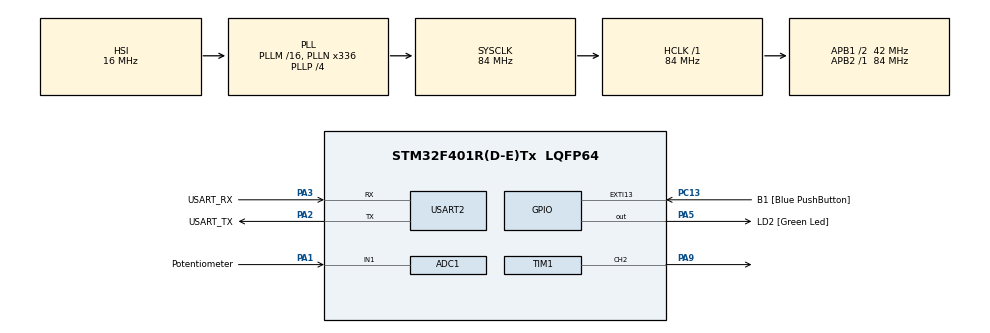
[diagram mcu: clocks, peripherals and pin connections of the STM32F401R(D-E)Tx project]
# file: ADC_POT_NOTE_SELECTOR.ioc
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ADC1.Channel-0\#ChannelRegularConversion=ADC_CHANNEL_1
ADC1.ExternalTrigConv=ADC_EXTERNALTRIGCONV_T2_TRGO
ADC1.NbrOfConversionFlag=1
ADC1.Rank-0\#ChannelRegularConversion=1
ADC1.SamplingTime-0\#ChannelRegularConversion=ADC_SAMPLETIME_480CYCLES
ADC1.master=1
Dma.Request0=USART2_TX
Dma.USART2_TX.0.Direction=DMA_MEMORY_TO_PERIPH
Dma.USART2_TX.0.FIFOMode=DMA_FIFOMODE_DISABLE
Dma.USART2_TX.0.Instance=DMA1_Stream6
Dma.USART2_TX.0.MemDataAlignment=DMA_MDATAALIGN_BYTE
Dma.USART2_TX.0.MemInc=DMA_MINC_ENABLE
Dma.USART2_TX.0.Mode=DMA_NORMAL
Dma.USART2_TX.0.PeriphDataAlignment=DMA_PDATAALIGN_BYTE
Dma.USART2_TX.0.PeriphInc=DMA_PINC_DISABLE
Dma.USART2_TX.0.Priority=DMA_PRIORITY_HIGH
Mcu.Family=STM32F4
Mcu.Name=STM32F401R(D-E)Tx
Mcu.Package=LQFP64
NVIC.ADC_IRQn=true\:0\:0\:false\:false\:true\:true\:true\:true
NVIC.DMA1_Stream6_IRQn=true\:0\:0\:false\:false\:true\:false\:true\:true
NVIC.PriorityGroup=NVIC_PRIORITYGROUP_4
NVIC.USART2_IRQn=true\:0\:0\:false\:false\:true\:true\:true\:true
PA1.GPIO_Label=Potentiometer
PA1.Signal=ADCx_IN1
PA13.GPIO_Label=TMS
PA13.Mode=Trace_Asynchronous_SW
PA13.Signal=SYS_JTMS-SWDIO
PA14.GPIO_Label=TCK
PA14.Mode=Trace_Asynchronous_SW
PA14.Signal=SYS_JTCK-SWCLK
PA2.GPIO_Label=USART_TX
PA2.GPIO_Mode=GPIO_MODE_AF_PP
PA2.GPIO_PuPd=GPIO_NOPULL
PA2.GPIO_Speed=GPIO_SPEED_FREQ_LOW
PA2.Mode=Asynchronous
PA2.Signal=USART2_TX
PA3.GPIO_Label=USART_RX
PA3.GPIO_Mode=GPIO_MODE_AF_PP
PA3.GPIO_PuPd=GPIO_NOPULL
PA3.GPIO_Speed=GPIO_SPEED_FREQ_LOW
PA3.Mode=Asynchronous
PA3.Signal=USART2_RX
PA5.GPIO_Label=LD2 [Green Led]
PA5.GPIO_Mode=GPIO_MODE_OUTPUT_PP
PA5.GPIO_PuPd=GPIO_NOPULL
PA5.GPIO_Speed=GPIO_SPEED_FREQ_LOW
PA5.Signal=GPIO_Output
PA9.Signal=S_TIM1_CH2
PB3.GPIO_Label=SWO
PB3.Mode=Trace_Asynchronous_SW
PB3.Signal=SYS_JTDO-SWO
PC13-ANTI_TAMP.GPIO_Label=B1 [Blue PushButton]
PC13-ANTI_TAMP.GPIO_ModeDefaultEXTI=GPIO_MODE_IT_FALLING
PC13-ANTI_TAMP.GPIO_PuPd=GPIO_NOPULL
PC13-ANTI_TAMP.Signal=GPXTI13
PC14-OSC32_IN.Mode=LSE-External-Oscillator
PC14-OSC32_IN.Signal=RCC_OSC32_IN
PC15-OSC32_OUT.Mode=LSE-External-Oscillator
PC15-OSC32_OUT.Signal=RCC_OSC32_OUT
PH0\ -\ OSC_IN.Mode=HSE-External-Clock-Source
PH0\ -\ OSC_IN.Signal=RCC_OSC_IN
PH1\ -\ OSC_OUT.Mode=HSE-External-Clock-Source
PH1\ -\ OSC_OUT.Signal=RCC_OSC_OUT
ProjectManager.HeapSize=0x200
ProjectManager.StackSize=0x400
ProjectManager.TargetToolchain=STM32CubeIDE
RCC.48MHZClocksFreq_Value=48000000
RCC.AHBFreq_Value=84000000
RCC.APB1CLKDivider=RCC_HCLK_DIV2
RCC.APB1Freq_Value=42000000
RCC.APB1TimFreq_Value=84000000
RCC.APB2Freq_Value=84000000
RCC.APB2TimFreq_Value=84000000
RCC.CortexFreq_Value=84000000
RCC.HCLKFreq_Value=84000000
RCC.HSE_VALUE=8000000
RCC.HSI_VALUE=16000000
RCC.PLLN=336
RCC.PLLP=RCC_PLLP_DIV4
RCC.PLLQ=7
RCC.SYSCLKFreq_VALUE=84000000
RCC.SYSCLKSource=RCC_SYSCLKSOURCE_PLLCLK
RCC.VCOOutputFreq_Value=336000000
SH.ADCx_IN1.0=ADC1_IN1,IN1
SH.S_TIM1_CH2.0=TIM1_CH2,PWM Generation2 CH2
TIM1.Channel-PWM\ Generation2\ CH2=TIM_CHANNEL_2
TIM1.Period=1909
TIM1.Prescaler=99
TIM1.Pulse-PWM\ Generation2\ CH2=954
TIM2.Period=839
TIM2.Prescaler=99
TIM2.TIM_MasterOutputTrigger=TIM_TRGO_UPDATE
USART2.VirtualMode=VM_ASYNC
VP_TIM2_VS_ClockSourceINT.Mode=Internal
board=NUCLEO-F401RE

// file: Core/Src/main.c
/* USER CODE BEGIN Header */
/**
  ******************************************************************************
  * @file           : main.c
  * @brief          : Main program body
  ******************************************************************************
  * @attention
  *
  * Copyright (c) 2026 STMicroelectronics.
  * All rights reserved.
  *
  * This software is licensed under terms that can be found in the LICENSE file
  * in the root directory of this software component.
  * If no LICENSE file comes with this software, it is provided AS-IS.
  *
  ******************************************************************************
  */
/* USER CODE END Header */
#include "main.h"

/* USER CODE BEGIN Includes */
#include "stdio.h"
#include "string.h"

/* USER CODE END Includes */

/* USER CODE BEGIN PTD */
// Definiamo una struttura "Note"
typedef struct {
    int Period;
    int Duration;
} Note;
/* USER CODE END PTD */

/* USER CODE BEGIN PD */
#define PeriodDO5 1605   // C5 = 523.25 Hz
#define PeriodRE5 1430   // D5 = 587.33 Hz
#define PeriodMI5 1274   // E5 = 659.25 Hz
#define PeriodFA4 2405   // F4 = 349.23 Hz
#define PeriodLA4 1909   // A4 = 440.00 Hz
#define PeriodSI4 1701   // B4 = 493.88 Hz

#define SONG_LENGTH 16
/* USER CODE END PD */

ADC_HandleTypeDef hadc1;

TIM_HandleTypeDef htim1;
TIM_HandleTypeDef htim2;

UART_HandleTypeDef huart2;
DMA_HandleTypeDef hdma_usart2_tx;

/* USER CODE BEGIN PV */
uint32_t adc_value=0;
float voltage=0.0;
float old_voltage=0.0;
uint8_t tx_buf[32];
int len;

Note Swan_Lake[] = {
		{PeriodMI5, 4},
		{PeriodLA4, 1},
		{PeriodSI4, 1},
		{PeriodDO5, 1},
		{PeriodRE5, 1},
		{PeriodMI5, 3},
		{PeriodDO5, 1},
		{PeriodMI5, 3},
		{PeriodDO5, 1},
		{PeriodMI5, 3},
		{PeriodLA4, 1},
		{PeriodDO5, 1},
		{PeriodLA4, 1},
		{PeriodFA4, 1},
		{PeriodDO5, 1},
		{PeriodLA4, 4}
};

volatile uint8_t i=0;
volatile uint8_t note_changed=0;

float interval_amplitude=(float)(3.3f/SONG_LENGTH); // 0.206 ampiezza intervalli

float intervals[SONG_LENGTH+1];

/* USER CODE END PV */

void SystemClock_Config(void);
static void MX_GPIO_Init(void);
static void MX_DMA_Init(void);
static void MX_USART2_UART_Init(void);
static void MX_ADC1_Init(void);
static void MX_TIM2_Init(void);
static void MX_TIM1_Init(void);

/* USER CODE BEGIN 0 */
void HAL_ADC_ConvCpltCallback(ADC_HandleTypeDef *hadc)
{
    // Il Trigger (Timer 2 a 1Hz) avvia la conversione ogni secondo
	// Quando arriva l'EoC aggiorniamo il valore
	adc_value = HAL_ADC_GetValue(hadc);
	voltage = ((float)adc_value * 3.3f) / 4095.0f;

	if((voltage-old_voltage>0.2f)||(old_voltage-voltage)>0.2f){
		note_changed=1;
	}

	// E lo inviamo
	//len = sprintf((char*)tx_buf, "Potentiometer: %.2f V\r\n", voltage);
	//HAL_UART_Transmit_DMA(&huart2, tx_buf, len);

}

void play_note(uint32_t Period, uint32_t Duration){

	// Aggiorna il Periodo (frequenza) nel registro del Timer
    // L'unica variabile da ri-inizializzare è quella di base (più veloce di HAL_TIM_Base_Init)
    // Usiamo una macro veloce che accede direttamente al registro
    __HAL_TIM_SET_AUTORELOAD(&htim1, Period - 1);

    // Aggiorna il Pulse (Duty Cycle)
    __HAL_TIM_SET_COMPARE(&htim1, TIM_CHANNEL_2, Period / 2);

    // Fai suonare nota
	HAL_TIM_PWM_Start(&htim1, TIM_CHANNEL_2);
}

/* USER CODE END 0 */

int main(void)
{

  /* MCU Configuration--------------------------------------------------------*/

  /* Reset of all peripherals, Initializes the Flash interface and the Systick. */
  HAL_Init();

  /* Configure the system clock */
  SystemClock_Config();

  /* Initialize all configured peripherals */
  MX_GPIO_Init();
  MX_DMA_Init();
  MX_USART2_UART_Init();
  MX_ADC1_Init();
  MX_TIM2_Init();
  MX_TIM1_Init();
  /* USER CODE BEGIN 2 */
  HAL_TIM_Base_Start(&htim2); // Ci serve il Trigger, non una Interrupt
  HAL_ADC_Start_IT(&hadc1);

  for(int j=0; j<SONG_LENGTH+1; j++){
	  intervals[j]=(float)(j*interval_amplitude); // 3.3/16 = 0.206 ampiezza intervalli
  }

  play_note(Swan_Lake[i].Period, Swan_Lake[i].Duration);

  /* USER CODE END 2 */

  /* Infinite loop */
  while (1)
  {

    /* USER CODE BEGIN 3 */
	  if(note_changed){
		  note_changed=0;
		  for(int j=1; j<=SONG_LENGTH+1; j++){
			  if(voltage>=intervals[j-1]){
				  i=j-1;
			  }
		  }

		  play_note(Swan_Lake[i].Period, Swan_Lake[i].Duration);
	  }
  }
  /* USER CODE END 3 */
}

void SystemClock_Config(void)
{
  RCC_OscInitTypeDef RCC_OscInitStruct = {0};
  RCC_ClkInitTypeDef RCC_ClkInitStruct = {0};

  /** Configure the main internal regulator output voltage
  */
  __HAL_RCC_PWR_CLK_ENABLE();
  __HAL_PWR_VOLTAGESCALING_CONFIG(PWR_REGULATOR_VOLTAGE_SCALE2);

  /** Initializes the RCC Oscillators according to the specified parameters
  * in the RCC_OscInitTypeDef structure.
  */
  RCC_OscInitStruct.OscillatorType = RCC_OSCILLATORTYPE_HSI;
  RCC_OscInitStruct.HSIState = RCC_HSI_ON;
  RCC_OscInitStruct.HSICalibrationValue = RCC_HSICALIBRATION_DEFAULT;
  RCC_OscInitStruct.PLL.PLLState = RCC_PLL_ON;
  RCC_OscInitStruct.PLL.PLLSource = RCC_PLLSOURCE_HSI;
  RCC_OscInitStruct.PLL.PLLM = 16;
  RCC_OscInitStruct.PLL.PLLN = 336;
  RCC_OscInitStruct.PLL.PLLP = RCC_PLLP_DIV4;
  RCC_OscInitStruct.PLL.PLLQ = 7;
  if (HAL_RCC_OscConfig(&RCC_OscInitStruct) != HAL_OK)
  {
    Error_Handler();
  }

  /** Initializes the CPU, AHB and APB buses clocks
  */
  RCC_ClkInitStruct.ClockType = RCC_CLOCKTYPE_HCLK|RCC_CLOCKTYPE_SYSCLK
                              |RCC_CLOCKTYPE_PCLK1|RCC_CLOCKTYPE_PCLK2;
  RCC_ClkInitStruct.SYSCLKSource = RCC_SYSCLKSOURCE_PLLCLK;
  RCC_ClkInitStruct.AHBCLKDivider = RCC_SYSCLK_DIV1;
  RCC_ClkInitStruct.APB1CLKDivider = RCC_HCLK_DIV2;
  RCC_ClkInitStruct.APB2CLKDivider = RCC_HCLK_DIV1;

  if (HAL_RCC_ClockConfig(&RCC_ClkInitStruct, FLASH_LATENCY_2) != HAL_OK)
  {
    Error_Handler();
  }
}

static void MX_ADC1_Init(void)
{

  ADC_ChannelConfTypeDef sConfig = {0};

  /** Configure the global features of the ADC (Clock, Resolution, Data Alignment and number of conversion)
  */
  hadc1.Instance = ADC1;
  hadc1.Init.ClockPrescaler = ADC_CLOCK_SYNC_PCLK_DIV4;
  hadc1.Init.Resolution = ADC_RESOLUTION_12B;
  hadc1.Init.ScanConvMode = DISABLE;
  hadc1.Init.ContinuousConvMode = DISABLE;
  hadc1.Init.DiscontinuousConvMode = DISABLE;
  hadc1.Init.ExternalTrigConvEdge = ADC_EXTERNALTRIGCONVEDGE_RISING;
  hadc1.Init.ExternalTrigConv = ADC_EXTERNALTRIGCONV_T2_TRGO;
  hadc1.Init.DataAlign = ADC_DATAALIGN_RIGHT;
  hadc1.Init.NbrOfConversion = 1;
  hadc1.Init.DMAContinuousRequests = DISABLE;
  hadc1.Init.EOCSelection = ADC_EOC_SINGLE_CONV;
  if (HAL_ADC_Init(&hadc1) != HAL_OK)
  {
    Error_Handler();
  }

  /** Configure for the selected ADC regular channel its corresponding rank in the sequencer and its sample time.
  */
  sConfig.Channel = ADC_CHANNEL_1;
  sConfig.Rank = 1;
  sConfig.SamplingTime = ADC_SAMPLETIME_480CYCLES;
  if (HAL_ADC_ConfigChannel(&hadc1, &sConfig) != HAL_OK)
  {
    Error_Handler();
  }

}

static void MX_TIM1_Init(void)
{

  TIM_MasterConfigTypeDef sMasterConfig = {0};
  TIM_OC_InitTypeDef sConfigOC = {0};
  TIM_BreakDeadTimeConfigTypeDef sBreakDeadTimeConfig = {0};

  htim1.Instance = TIM1;
  htim1.Init.Prescaler = 99;
  htim1.Init.CounterMode = TIM_COUNTERMODE_UP;
  htim1.Init.Period = 1909;
  htim1.Init.ClockDivision = TIM_CLOCKDIVISION_DIV1;
  htim1.Init.RepetitionCounter = 0;
  htim1.Init.AutoReloadPreload = TIM_AUTORELOAD_PRELOAD_DISABLE;
  if (HAL_TIM_PWM_Init(&htim1) != HAL_OK)
  {
    Error_Handler();
  }
  sMasterConfig.MasterOutputTrigger = TIM_TRGO_RESET;
  sMasterConfig.MasterSlaveMode = TIM_MASTERSLAVEMODE_DISABLE;
  if (HAL_TIMEx_MasterConfigSynchronization(&htim1, &sMasterConfig) != HAL_OK)
  {
    Error_Handler();
  }
  sConfigOC.OCMode = TIM_OCMODE_PWM1;
  sConfigOC.Pulse = 954;
  sConfigOC.OCPolarity = TIM_OCPOLARITY_HIGH;
  sConfigOC.OCNPolarity = TIM_OCNPOLARITY_HIGH;
  sConfigOC.OCFastMode = TIM_OCFAST_DISABLE;
  sConfigOC.OCIdleState = TIM_OCIDLESTATE_RESET;
  sConfigOC.OCNIdleState = TIM_OCNIDLESTATE_RESET;
  if (HAL_TIM_PWM_ConfigChannel(&htim1, &sConfigOC, TIM_CHANNEL_2) != HAL_OK)
  {
    Error_Handler();
  }
  sBreakDeadTimeConfig.OffStateRunMode = TIM_OSSR_DISABLE;
  sBreakDeadTimeConfig.OffStateIDLEMode = TIM_OSSI_DISABLE;
  sBreakDeadTimeConfig.LockLevel = TIM_LOCKLEVEL_OFF;
  sBreakDeadTimeConfig.DeadTime = 0;
  sBreakDeadTimeConfig.BreakState = TIM_BREAK_DISABLE;
  sBreakDeadTimeConfig.BreakPolarity = TIM_BREAKPOLARITY_HIGH;
  sBreakDeadTimeConfig.AutomaticOutput = TIM_AUTOMATICOUTPUT_DISABLE;
  if (HAL_TIMEx_ConfigBreakDeadTime(&htim1, &sBreakDeadTimeConfig) != HAL_OK)
  {
    Error_Handler();
  }
  HAL_TIM_MspPostInit(&htim1);

}

static void MX_TIM2_Init(void)
{

  TIM_ClockConfigTypeDef sClockSourceConfig = {0};
  TIM_MasterConfigTypeDef sMasterConfig = {0};

  htim2.Instance = TIM2;
  htim2.Init.Prescaler = 99;
  htim2.Init.CounterMode = TIM_COUNTERMODE_UP;
  htim2.Init.Period = 839;
  htim2.Init.ClockDivision = TIM_CLOCKDIVISION_DIV1;
  htim2.Init.AutoReloadPreload = TIM_AUTORELOAD_PRELOAD_DISABLE;
  if (HAL_TIM_Base_Init(&htim2) != HAL_OK)
  {
    Error_Handler();
  }
  sClockSourceConfig.ClockSource = TIM_CLOCKSOURCE_INTERNAL;
  if (HAL_TIM_ConfigClockSource(&htim2, &sClockSourceConfig) != HAL_OK)
  {
    Error_Handler();
  }
  sMasterConfig.MasterOutputTrigger = TIM_TRGO_UPDATE;
  sMasterConfig.MasterSlaveMode = TIM_MASTERSLAVEMODE_DISABLE;
  if (HAL_TIMEx_MasterConfigSynchronization(&htim2, &sMasterConfig) != HAL_OK)
  {
    Error_Handler();
  }

}

static void MX_USART2_UART_Init(void)
{

  huart2.Instance = USART2;
  huart2.Init.BaudRate = 115200;
  huart2.Init.WordLength = UART_WORDLENGTH_8B;
  huart2.Init.StopBits = UART_STOPBITS_1;
  huart2.Init.Parity = UART_PARITY_NONE;
  huart2.Init.Mode = UART_MODE_TX_RX;
  huart2.Init.HwFlowCtl = UART_HWCONTROL_NONE;
  huart2.Init.OverSampling = UART_OVERSAMPLING_16;
  if (HAL_UART_Init(&huart2) != HAL_OK)
  {
    Error_Handler();
  }

}

static void MX_DMA_Init(void)
{

  /* DMA controller clock enable */
  __HAL_RCC_DMA1_CLK_ENABLE();

  /* DMA interrupt init */
  /* DMA1_Stream6_IRQn interrupt configuration */
  HAL_NVIC_SetPriority(DMA1_Stream6_IRQn, 0, 0);
  HAL_NVIC_EnableIRQ(DMA1_Stream6_IRQn);

}

static void MX_GPIO_Init(void)
{
  GPIO_InitTypeDef GPIO_InitStruct = {0};

  /* GPIO Ports Clock Enable */
  __HAL_RCC_GPIOC_CLK_ENABLE();
  __HAL_RCC_GPIOH_CLK_ENABLE();
  __HAL_RCC_GPIOA_CLK_ENABLE();
  __HAL_RCC_GPIOB_CLK_ENABLE();

  /*Configure GPIO pin Output Level */
  HAL_GPIO_WritePin(LD2_GPIO_Port, LD2_Pin, GPIO_PIN_RESET);

  /*Configure GPIO pin : B1_Pin */
  GPIO_InitStruct.Pin = B1_Pin;
  GPIO_InitStruct.Mode = GPIO_MODE_IT_FALLING;
  GPIO_InitStruct.Pull = GPIO_NOPULL;
  HAL_GPIO_Init(B1_GPIO_Port, &GPIO_InitStruct);

  /*Configure GPIO pin : LD2_Pin */
  GPIO_InitStruct.Pin = LD2_Pin;
  GPIO_InitStruct.Mode = GPIO_MODE_OUTPUT_PP;
  GPIO_InitStruct.Pull = GPIO_NOPULL;
  GPIO_InitStruct.Speed = GPIO_SPEED_FREQ_LOW;
  HAL_GPIO_Init(LD2_GPIO_Port, &GPIO_InitStruct);

}

void Error_Handler(void)
{
  __disable_irq();
  while (1)
  {
  }
}
